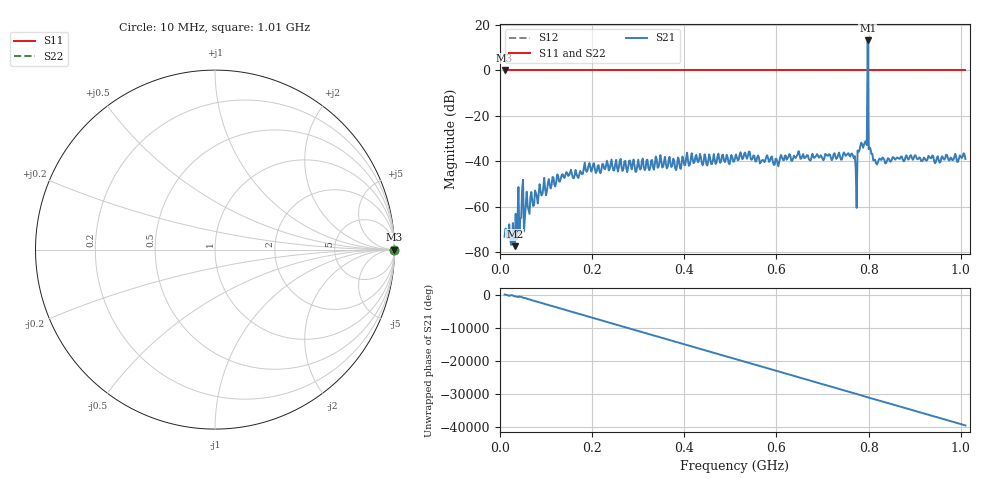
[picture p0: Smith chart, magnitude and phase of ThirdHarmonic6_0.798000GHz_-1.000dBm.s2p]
! 8/16/2025 2:37:18 AM
! C:\ANRITSUVNA\TEMP\TEMP.S2P
! CHANNEL.1
! TR.MEASUREMENT
! RAW.DATA
! RF.CORRECTION.OFF
! AVERAGING.OFF
! IF.BANDWIDTH: 5KHZ
! SWEEPTYPE:  FREQ.SWEEP(Linear)
! Reference Plane Port Info
! PORT:  PORT1  PORT2
! DISTANCE:  0  m  0  m
! TIME:  0  s  0  s
! PHASE.OFFSET:  0  deg.  0  deg.
! LOSS:  0  dB  0  dB
! REF.LOSS:  0  dB  0  dB
! REF.FREQ:  0  Hz  0  Hz
! Power Info
! POWER:  -20  dBm  -20  dBm
! EFF.POWER:  -20  dBm  -20  dBm
! SOURCE.ATTEN:  0  dB  0  dB
! TEST.ATTEN:  0  dB  0  dB
# GHZ S RI R 50.0
! FREQ.GHZ  S11RE  S11IM  S21RE  S21IM  S12RE  S12IM  S22RE  S22IM
!; PortSelection: Port_12
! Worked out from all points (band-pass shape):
!   501 points, 10 MHz to 1.01 GHz, reference 50 ohm
!   highest |S21| = 13.02 dB at 798 MHz (marker M1); lowest = -77.4 dB at 32 MHz (marker M2)
!   |S21| within 3 dB of the highest: 797.8695 MHz to 798.1255 MHz (256 kHz wide, 0.0321 % of centre)
!   lowest |S11| = 0.0 dB at 10 MHz (marker M3)
!   |S11| at or under -10 dB: nowhere
!   |S22| runs from 0.0 to 0.0 dB; largest |S21 - S12| = 4.4
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0.01  1 0  -0.000213 4.47e-05  1 0  1 0
0.028  1 0  -0.000308 -0.000307  1 0  1 0
0.032  1 0  0.000123 -5.52e-05  1 0  1 0
0.052  1 0  -8.45e-05 -0.000271  1 0  1 0
0.056  1 0  -0.000819 0.00075  1 0  1 0
0.178  1 0  -0.00508 -0.00066  1 0  1 0
0.344  1 0  0.00684 -0.00266  1 0  1 0
0.51  1 0  -0.0101 0.00545  1 0  1 0
0.678  1 0  -0.0104 -0.0101  1 0  1 0
0.76  1 0  -0.0122 0.00301  1 0  1 0
0.768  1 0  -0.0106 -0.0044  1 0  1 0
0.77  1 0  -0.00828 0.00981  1 0  1 0
0.776  1 0  -0.00765 -0.0153  1 0  1 0
0.78  1 0  -0.00103 0.0172  1 0  1 0
0.792  1 0  0.0147 -0.0217  1 0  1 0
0.794  1 0  -0.0234 -0.014  1 0  1 0
0.798  1 0  0.8563 4.394  1 0  1 0
0.802  1 0  -0.0116 -0.0163  1 0  1 0
0.804  1 0  -0.0155 0.0107  1 0  1 0
0.814  1 0  -0.00467 0.00957  1 0  1 0
0.844  1 0  0.0111 0.00181  1 0  1 0
1.01  1 0  -0.011 0.00156  1 0  1 0
